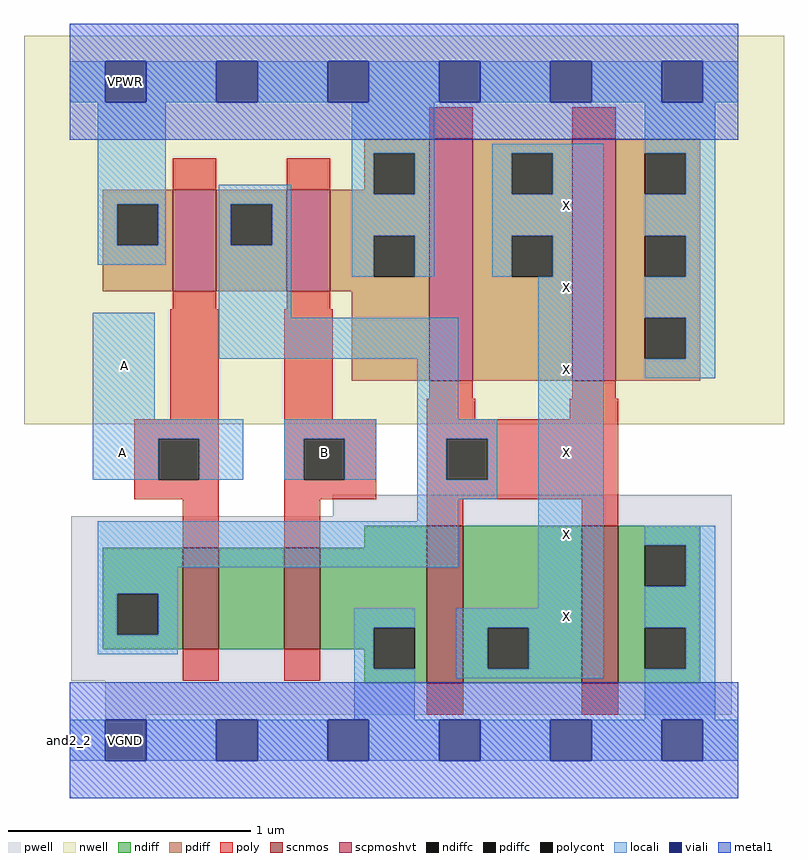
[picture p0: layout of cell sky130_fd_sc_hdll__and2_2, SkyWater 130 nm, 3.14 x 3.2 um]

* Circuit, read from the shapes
.subckt sky130_fd_sc_hdll__and2_2 A B VGND VNB VPB VPWR X
XM1 n1 A n2 VNB sky130_fd_pr__nfet_01v8 w=0.42 l=0.15
XM2 VGND B n1 VNB sky130_fd_pr__nfet_01v8 w=0.42 l=0.15
XM3 X n2 VGND VNB sky130_fd_pr__nfet_01v8 w=0.65 l=0.15 m=2
XM4 n2 A VPWR VPB sky130_fd_pr__pfet_01v8_hvt w=0.42 l=0.18
XM5 VPWR B n2 VPB sky130_fd_pr__pfet_01v8_hvt w=0.42 l=0.18
XM6 X n2 VPWR VPB sky130_fd_pr__pfet_01v8_hvt w=1 l=0.18 m=2
.ends

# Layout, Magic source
magic
tech sky130A
magscale 1 2
<< nwell >>
rect -38 261 590 582
<< pwell >>
rect 217 185 547 203
rect 1 49 547 185
rect 29 21 547 49
rect 29 -17 63 21
<< scnmos >>
rect 93 75 123 159
rect 177 75 207 159
rect 295 47 325 177
rect 423 47 453 177
<< scpmoshvt >>
rect 85 371 121 455
rect 179 371 215 455
rect 297 297 333 497
rect 415 297 451 497
<< ndiff >>
rect 243 159 295 177
rect 27 121 93 159
rect 27 87 39 121
rect 73 87 93 121
rect 27 75 93 87
rect 123 75 177 159
rect 207 93 295 159
rect 207 75 251 93
rect 243 59 251 75
rect 285 59 295 93
rect 243 47 295 59
rect 325 93 423 177
rect 325 59 345 93
rect 379 59 423 93
rect 325 47 423 59
rect 453 161 521 177
rect 453 127 475 161
rect 509 127 521 161
rect 453 93 521 127
rect 453 59 475 93
rect 509 59 521 93
rect 453 47 521 59
<< pdiff >>
rect 243 485 297 497
rect 243 455 251 485
rect 27 443 85 455
rect 27 409 39 443
rect 73 409 85 443
rect 27 371 85 409
rect 121 443 179 455
rect 121 409 133 443
rect 167 409 179 443
rect 121 371 179 409
rect 215 451 251 455
rect 285 451 297 485
rect 215 417 297 451
rect 215 383 251 417
rect 285 383 297 417
rect 215 371 297 383
rect 233 297 297 371
rect 333 485 415 497
rect 333 451 365 485
rect 399 451 415 485
rect 333 417 415 451
rect 333 383 365 417
rect 399 383 415 417
rect 333 297 415 383
rect 451 485 521 497
rect 451 451 475 485
rect 509 451 521 485
rect 451 417 521 451
rect 451 383 475 417
rect 509 383 521 417
rect 451 349 521 383
rect 451 315 475 349
rect 509 315 521 349
rect 451 297 521 315
<< ndiffc >>
rect 39 87 73 121
rect 251 59 285 93
rect 345 59 379 93
rect 475 127 509 161
rect 475 59 509 93
<< pdiffc >>
rect 39 409 73 443
rect 133 409 167 443
rect 251 451 285 485
rect 251 383 285 417
rect 365 451 399 485
rect 365 383 399 417
rect 475 451 509 485
rect 475 383 509 417
rect 475 315 509 349
<< poly >>
rect 297 497 333 523
rect 415 497 451 523
rect 85 455 121 481
rect 179 455 215 481
rect 85 356 121 371
rect 179 356 215 371
rect 83 265 123 356
rect 53 249 123 265
rect 53 215 73 249
rect 107 215 123 249
rect 53 199 123 215
rect 93 159 123 199
rect 177 265 217 356
rect 297 282 333 297
rect 415 282 451 297
rect 295 265 335 282
rect 413 265 453 282
rect 177 249 253 265
rect 177 215 193 249
rect 227 215 253 249
rect 177 199 253 215
rect 295 249 453 265
rect 295 215 311 249
rect 345 215 453 249
rect 295 199 453 215
rect 177 159 207 199
rect 295 177 325 199
rect 423 177 453 199
rect 93 49 123 75
rect 177 49 207 75
rect 295 21 325 47
rect 423 21 453 47
<< polycont >>
rect 73 215 107 249
rect 193 215 227 249
rect 311 215 345 249
<< locali >>
rect 0 527 29 561
rect 63 527 121 561
rect 155 527 213 561
rect 247 527 305 561
rect 339 527 397 561
rect 431 527 489 561
rect 523 527 552 561
rect 23 443 79 527
rect 233 485 301 527
rect 23 409 39 443
rect 73 409 79 443
rect 23 393 79 409
rect 123 443 183 459
rect 123 409 133 443
rect 167 409 183 443
rect 19 265 70 353
rect 123 349 183 409
rect 233 451 251 485
rect 285 451 301 485
rect 233 417 301 451
rect 233 383 251 417
rect 285 383 301 417
rect 349 485 441 493
rect 349 451 365 485
rect 399 451 441 485
rect 349 417 441 451
rect 349 383 365 417
rect 399 383 441 417
rect 123 315 321 349
rect 287 265 321 315
rect 19 249 143 265
rect 19 215 73 249
rect 107 215 143 249
rect 177 249 253 265
rect 177 215 193 249
rect 227 215 253 249
rect 287 249 353 265
rect 287 215 311 249
rect 345 215 353 249
rect 287 199 353 215
rect 287 181 321 199
rect 23 143 321 181
rect 23 121 89 143
rect 23 87 39 121
rect 73 87 89 121
rect 387 109 441 383
rect 475 485 533 527
rect 509 451 533 485
rect 475 417 533 451
rect 509 383 533 417
rect 475 349 533 383
rect 509 315 533 349
rect 475 299 533 315
rect 23 71 89 87
rect 235 93 285 109
rect 235 59 251 93
rect 235 17 285 59
rect 319 93 441 109
rect 319 59 345 93
rect 379 59 441 93
rect 319 51 441 59
rect 475 161 533 177
rect 509 127 533 161
rect 475 93 533 127
rect 509 59 533 93
rect 475 17 533 59
rect 0 -17 29 17
rect 63 -17 121 17
rect 155 -17 213 17
rect 247 -17 305 17
rect 339 -17 397 17
rect 431 -17 489 17
rect 523 -17 552 17
<< viali >>
rect 29 527 63 561
rect 121 527 155 561
rect 213 527 247 561
rect 305 527 339 561
rect 397 527 431 561
rect 489 527 523 561
rect 29 -17 63 17
rect 121 -17 155 17
rect 213 -17 247 17
rect 305 -17 339 17
rect 397 -17 431 17
rect 489 -17 523 17
<< metal1 >>
rect 0 561 552 592
rect 0 527 29 561
rect 63 527 121 561
rect 155 527 213 561
rect 247 527 305 561
rect 339 527 397 561
rect 431 527 489 561
rect 523 527 552 561
rect 0 496 552 527
rect 0 17 552 48
rect 0 -17 29 17
rect 63 -17 121 17
rect 155 -17 213 17
rect 247 -17 305 17
rect 339 -17 397 17
rect 431 -17 489 17
rect 523 -17 552 17
rect 0 -48 552 -17
<< labels >>
flabel metal1 s 29 527 63 561 0 FreeSans 200 0 0 0 VPWR
port 6 nsew power bidirectional
flabel metal1 s 29 -17 63 17 0 FreeSans 200 0 0 0 VGND
port 3 nsew ground bidirectional
flabel locali s 28 293 62 327 0 FreeSans 250 0 0 0 A
port 1 nsew signal input
flabel locali s 393 153 427 187 0 FreeSans 250 0 0 0 X
port 7 nsew signal output
flabel locali s 26 221 60 255 0 FreeSans 250 0 0 0 A
port 1 nsew signal input
flabel locali s 393 85 427 119 0 FreeSans 250 0 0 0 X
port 7 nsew signal output
flabel locali s 393 221 427 255 0 FreeSans 250 0 0 0 X
port 7 nsew signal output
flabel locali s 393 289 427 323 0 FreeSans 250 0 0 0 X
port 7 nsew signal output
flabel locali s 393 357 427 391 0 FreeSans 250 0 0 0 X
port 7 nsew signal output
flabel locali s 393 425 427 459 0 FreeSans 250 0 0 0 X
port 7 nsew signal output
flabel locali s 193 221 227 255 0 FreeSans 250 0 0 0 B
port 2 nsew signal input
flabel nwell s 29 527 63 561 0 FreeSans 200 0 0 0 VPB
port 5 nsew power bidirectional
flabel pwell s 29 -17 63 17 0 FreeSans 200 0 0 0 VNB
port 4 nsew ground bidirectional
rlabel comment s 0 0 0 0 4 and2_2
<< properties >>
string LEFsite unithd
string LEFclass CORE
string FIXED_BBOX 0 0 552 544
string GDS_FILE $PDKPATH/libs.ref/sky130_fd_sc_hdll/gds/sky130_fd_sc_hdll.gds
string LEFsymmetry X Y R90
string GDS_END 1763122
string GDS_START 1757640
string LEFproperties maskLayoutSubType "abstract" prCellType "standard" originalViewName "layout"
<< end >>
